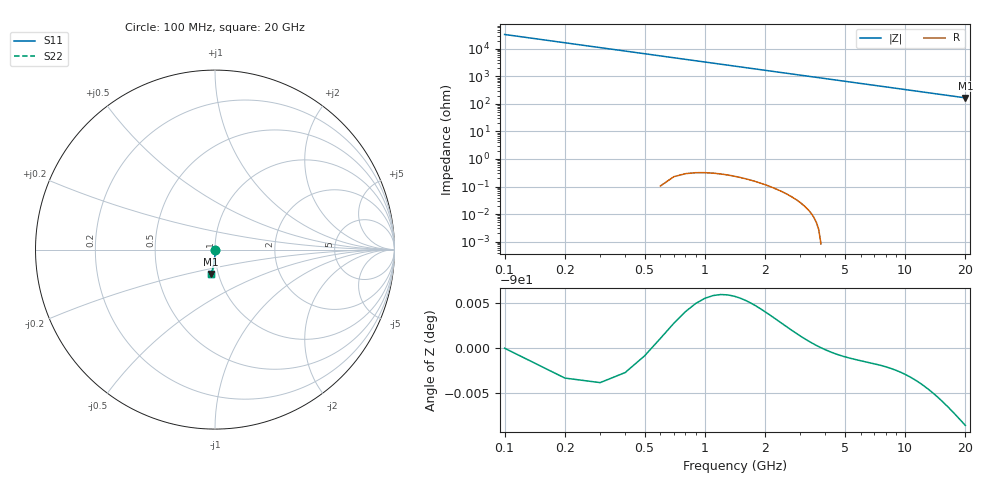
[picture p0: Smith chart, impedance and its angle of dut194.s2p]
! Touchstone file exported from HFSS 2026.1.0
!  File:  C:/ffzhzh/LocalFiles/Ansys_Project_Files/temp_train_TSV_194_1782991598_45328.aedt
!  Generated:  07:27:52 PM Jul  2, 2026
!  Design:  TSV
!  Project:  temp_train_TSV_194_1782991598_45328
! Variables:
!  h_bsmrdl = 2um
!  h_ox = 20um
!  h_rdl = 5um
!  h_sub = 50.2um
!  h_tmrdl = 5um
!  h_tsv = 50.2um
!  h_via = 3um
!  l_bsmrdl = 300um
!  l_sub = 424um
!  l_tmrdl = 200um
!  m_sub = 200um
!  pitch = 25.37um
!  r_tsv = 12um
!  s_tmrdl = 10um
!  w_bsmrdl = 18um
!  w_sub = 500um
!  w_tmrdl = 12um
!  x_tsv_center1 = 206um
!  x_tsv_center2 = 524um
!  x_tsv_center3 = 736um
!  x_tsv_center4 = 1054um
!  x_tsv_center5 = 1266um
!  x_tsv_center6 = 1584um
# GHz S MA R 50.000000
! Terminal data exported
! Port[1] = TSV1_1_T1
! Port[2] = TSV1_1_T2
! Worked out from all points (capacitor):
!   200 points, 100 MHz to 20 GHz, reference 50 ohm
!   read as one part in shunt: C = 48 fF near 200 MHz
!   lowest |Z| = 166 ohm at 20 GHz (marker M1)
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0.1  0.0006466 -82.2  0.9999 -0.0  0.9999 -0.0  0.0006466 -82.2
! Gamma 0 0 0 0
! Port Impedance 50 0 50 0
0.2  0.001291 -85.3  0.9999 -0.1  0.9999 -0.1  0.001291 -85.3
0.3  0.001947 -86.2  0.9999 -0.1  0.9999 -0.1  0.001947 -86.2
0.4  0.002613 -86.6  0.9998 -0.2  0.9998 -0.2  0.002613 -86.6
0.5  0.003288 -86.9  0.9998 -0.2  0.9998 -0.2  0.003288 -86.9
0.7  0.004653 -87.3  0.9997 -0.3  0.9997 -0.3  0.004653 -87.3
0.8  0.00534 -87.5  0.9997 -0.4  0.9997 -0.4  0.00534 -87.5
1  0.006719 -87.9  0.9997 -0.5  0.9997 -0.5  0.006719 -87.9
1.2  0.008099 -88.2  0.9996 -0.6  0.9996 -0.6  0.008099 -88.2
1.4  0.009479 -88.5  0.9996 -0.7  0.9996 -0.7  0.009479 -88.5
1.7  0.01155 -88.9  0.9996 -0.8  0.9996 -0.8  0.01155 -88.9
2  0.01362 -89.2  0.9995 -0.9  0.9995 -0.9  0.01362 -89.2
2.7  0.01845 -89.8  0.9994 -1.3  0.9994 -1.3  0.01845 -89.8
3.5  0.02397 -90.4  0.9992 -1.6  0.9992 -1.6  0.02397 -90.4
4.2  0.02881 -90.8  0.999 -2.0  0.999 -2.0  0.02881 -90.8
5  0.03434 -91.3  0.9988 -2.3  0.9988 -2.3  0.03434 -91.3
6.8  0.04681 -92.2  0.9981 -3.2  0.9981 -3.2  0.04681 -92.2
8.3  0.0572 -93.0  0.9975 -3.9  0.9975 -3.9  0.0572 -93.0
10.1  0.06964 -93.9  0.9966 -4.7  0.9966 -4.7  0.06964 -93.9
13.4  0.09237 -95.5  0.9946 -6.2  0.9946 -6.2  0.09237 -95.5
16.7  0.115 -97.1  0.9921 -7.8  0.9921 -7.8  0.115 -97.1
20  0.1374 -98.7  0.9891 -9.3  0.9891 -9.3  0.1374 -98.7
